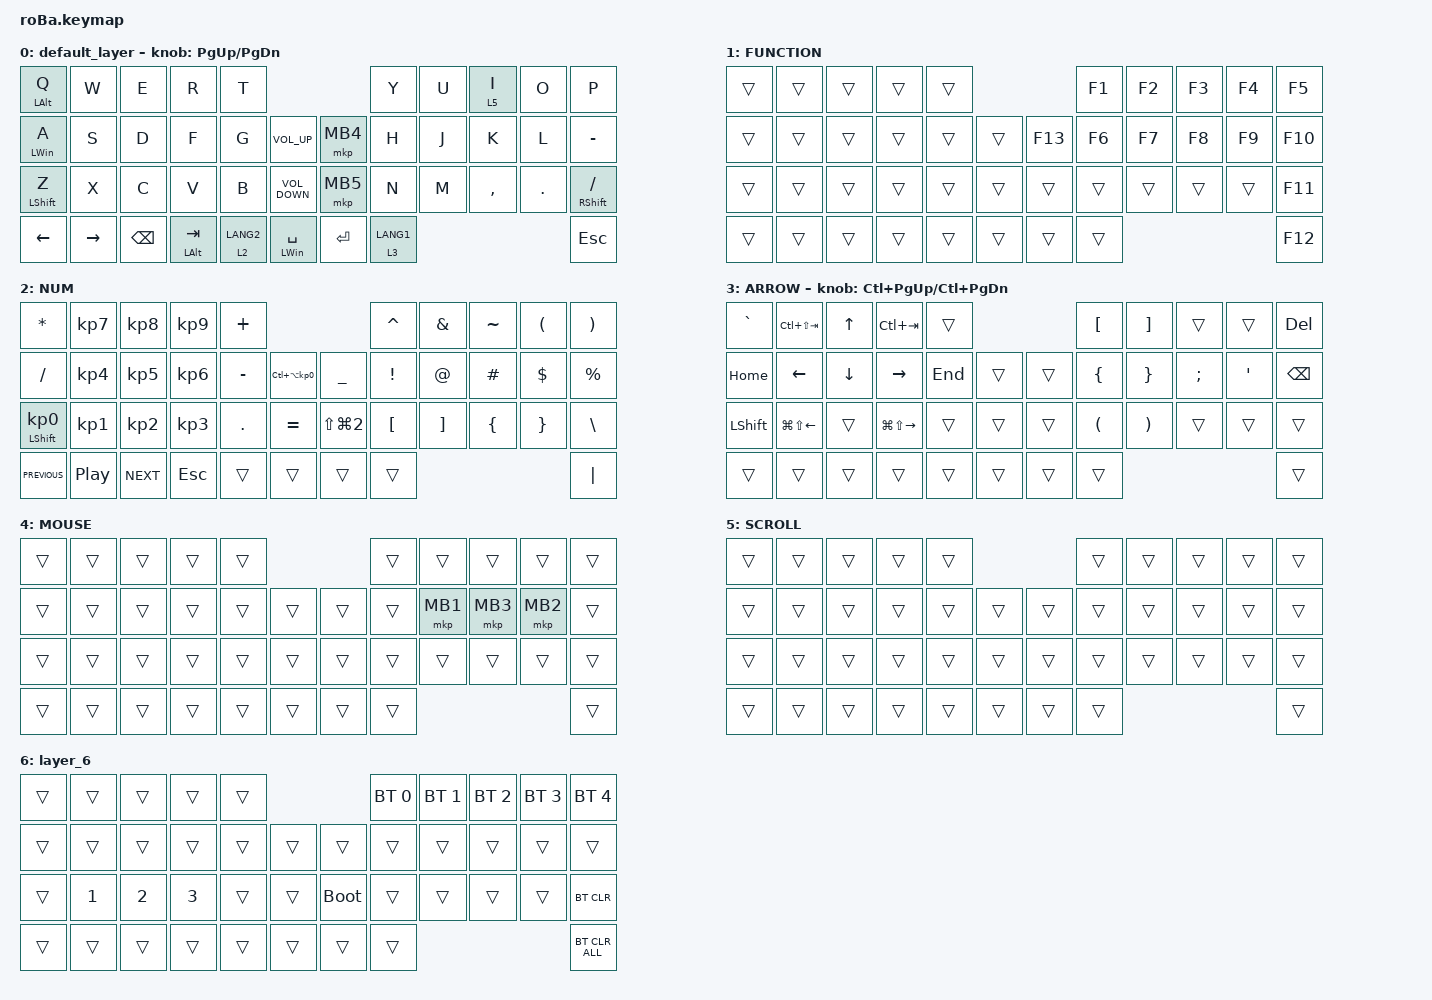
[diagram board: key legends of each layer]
#include <behaviors.dtsi>
#include <dt-bindings/zmk/bt.h>
#include <dt-bindings/zmk/keys.h>
#include <dt-bindings/zmk/pointing.h>

&mt {
    flavor = "balanced";
    quick-tap-ms = <0>;
};

&trackball {
    automouse-layer = <4>;
    scroll-layers = <5>;

    // arrows {
    //     layers = <3>;
    //     bindings =
    //         <&kp RIGHT_ARROW>,
    //         <&kp LEFT_ARROW>,
    //         <&kp UP_ARROW>,
    //         <&kp DOWN_ARROW>;
    //     tick = <10>;
    //     wait-ms = <5>;
    //     tap-ms = <5>;
    // };
};

/ {
    combos {
        compatible = "zmk,combos";

        tab {
            bindings = <&kp TAB>;
            key-positions = <11 12>;
        };

        shift_tab {
            bindings = <&kp LS(TAB)>;
            key-positions = <12 13>;
        };

        muhennkann {
            bindings = <&to_layer_0 INT_MUHENKAN>;
            key-positions = <11 10>;
        };

        double_quotation {
            bindings = <&kp DOUBLE_QUOTES>;
            key-positions = <20 21>;
        };

        eq {
            bindings = <&kp EQUAL>;
            key-positions = <24 25>;
        };
    };

    macros {
        to_layer_0: to_layer_0 {
            compatible = "zmk,behavior-macro-one-param";
            #binding-cells = <1>;
            bindings = <&to 0 &macro_param_1to1 &kp MACRO_PLACEHOLDER>;
            label = "TO_LAYER_0";
        };
    };

    behaviors {
        lt_to_layer_0: lt_to_layer_0 {
            compatible = "zmk,behavior-hold-tap";
            label = "LAYER_TAP_TO_0";
            bindings = <&mo>, <&to_layer_0>;

            #binding-cells = <2>;
            tapping-term-ms = <200>;
        };
    };

    keymap {
        compatible = "zmk,keymap";

        default_layer {
            bindings = <
&mt LEFT_ALT Q    &kp W            &kp E          &kp R             &kp T                                           &kp Y        &kp U  &lt 5 I    &kp O    &kp P
&mt LEFT_WIN A    &kp S            &kp D          &kp F             &kp G        &kp C_VOLUME_UP         &mkp MB4   &kp H        &kp J  &kp K      &kp L    &kp MINUS
&mt LEFT_SHIFT Z  &kp X            &kp C          &kp V             &kp B        &kp C_VOLUME_DOWN       &mkp MB5   &kp N        &kp M  &kp COMMA  &kp DOT  &mt RIGHT_SHIFT SLASH
&kp LEFT_ARROW    &kp RIGHT_ARROW  &kp BACKSPACE  &mt LEFT_ALT TAB  &lt 2 LANG2  &mt LEFT_WIN SPACE      &kp ENTER  &lt 3 LANG1                             &kp ESCAPE
            >;

            sensor-bindings = <&inc_dec_kp PG_UP PAGE_DOWN>;
        };

        FUNCTION {
            bindings = <
&trans  &trans  &trans  &trans  &trans                       &kp F1  &kp F2  &kp F3  &kp F4  &kp F5
&trans  &trans  &trans  &trans  &trans  &trans      &kp F13  &kp F6  &kp F7  &kp F8  &kp F9  &kp F10
&trans  &trans  &trans  &trans  &trans  &trans      &trans   &trans  &trans  &trans  &trans  &kp F11
&trans  &trans  &trans  &trans  &trans  &trans      &trans   &trans                          &kp F12
            >;
        };

        NUM {
            bindings = <
&kp ASTERISK                &kp KP_NUMBER_7   &kp KP_NUMBER_8  &kp KP_NUMBER_9  &kp PLUS                                                       &kp CARET         &kp AMPERSAND      &kp TILDE       &kp LEFT_PARENTHESIS  &kp RIGHT_PARENTHESIS
&kp SLASH                   &kp KP_NUMBER_4   &kp KP_NUMBER_5  &kp KP_NUMBER_6  &kp MINUS   &kp LC(LA(KP_NUMBER_0))      &kp UNDERSCORE        &kp EXCLAMATION   &kp AT_SIGN        &kp HASH        &kp DOLLAR            &kp PERCENT
&mt LEFT_SHIFT KP_NUMBER_0  &kp KP_NUMBER_1   &kp KP_NUMBER_2  &kp KP_NUMBER_3  &kp PERIOD  &kp EQUAL                    &kp LS(LG(NUMBER_2))  &kp LEFT_BRACKET  &kp RIGHT_BRACKET  &kp LEFT_BRACE  &kp RIGHT_BRACE       &kp BACKSLASH
&kp C_PREVIOUS              &kp C_PLAY_PAUSE  &kp C_NEXT       &kp ESC          &trans      &trans                       &trans                &trans                                                                     &kp PIPE
            >;
        };

        ARROW {
            bindings = <
&kp GRAVE       &kp LC(LS(TAB))         &kp UP_ARROW    &kp LC(TAB)              &trans                       &kp LEFT_BRACKET      &kp RIGHT_BRACKET      &trans         &trans   &kp DEL
&kp HOME        &kp LEFT_ARROW          &kp DOWN_ARROW  &kp RIGHT_ARROW          &kp END  &trans      &trans  &kp LEFT_BRACE        &kp RIGHT_BRACE        &kp SEMICOLON  &kp SQT  &kp BACKSPACE
&kp LEFT_SHIFT  &kp LG(LS(LEFT_ARROW))  &trans          &kp LG(LS(RIGHT_ARROW))  &trans   &trans      &trans  &kp LEFT_PARENTHESIS  &kp RIGHT_PARENTHESIS  &trans         &trans   &trans
&trans          &trans                  &trans          &trans                   &trans   &trans      &trans  &trans                                                               &trans
            >;

            sensor-bindings = <&inc_dec_kp LC(PAGE_UP) LC(PAGE_DOWN)>;
        };

        MOUSE {
            bindings = <
&trans  &trans  &trans  &trans  &trans                      &trans  &trans    &trans    &trans    &trans
&trans  &trans  &trans  &trans  &trans  &trans      &trans  &trans  &mkp MB1  &mkp MB3  &mkp MB2  &trans
&trans  &trans  &trans  &trans  &trans  &trans      &trans  &trans  &trans    &trans    &trans    &trans
&trans  &trans  &trans  &trans  &trans  &trans      &trans  &trans                                &trans
            >;
        };

        SCROLL {
            bindings = <
&trans  &trans  &trans  &trans  &trans                      &trans  &trans  &trans  &trans  &trans
&trans  &trans  &trans  &trans  &trans  &trans      &trans  &trans  &trans  &trans  &trans  &trans
&trans  &trans  &trans  &trans  &trans  &trans      &trans  &trans  &trans  &trans  &trans  &trans
&trans  &trans  &trans  &trans  &trans  &trans      &trans  &trans                          &trans
            >;
        };

        layer_6 {
            bindings = <
&trans  &trans        &trans        &trans        &trans                           &bt BT_SEL 0  &bt BT_SEL 1  &bt BT_SEL 2  &bt BT_SEL 3  &bt BT_SEL 4
&trans  &trans        &trans        &trans        &trans  &trans      &trans       &trans        &trans        &trans        &trans        &trans
&trans  &kp NUMBER_1  &kp NUMBER_2  &kp NUMBER_3  &trans  &trans      &bootloader  &trans        &trans        &trans        &trans        &bt BT_CLR
&trans  &trans        &trans        &trans        &trans  &trans      &trans       &trans                                                  &bt BT_CLR_ALL
            >;
        };
    };
};
